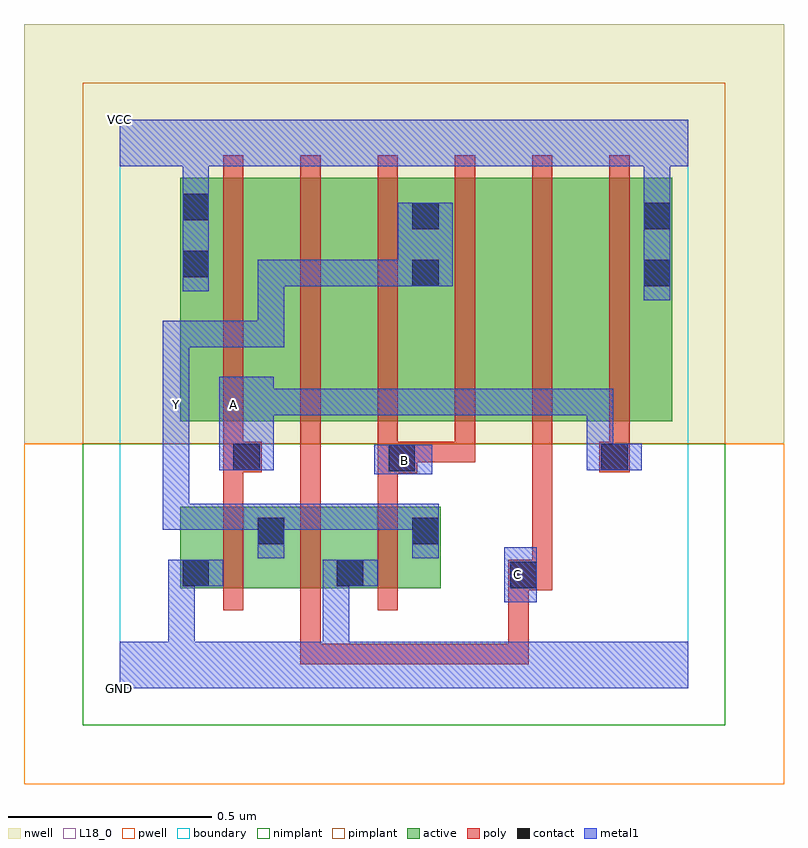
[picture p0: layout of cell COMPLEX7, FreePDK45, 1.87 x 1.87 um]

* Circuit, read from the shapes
.subckt COMPLEX7 A B C GND VCC Y
M1 Y A GND VSUBS nfet w=0.2u l=0.05u
M2 GND C Y VSUBS nfet w=0.2u l=0.05u
M3 Y B GND VSUBS nfet w=0.2u l=0.05u
M4 n1 A VCC n2 pfet w=0.6u l=0.05u
M5 n3 C n1 n2 pfet w=0.6u l=0.05u
M6 Y B n3 n2 pfet w=0.6u l=0.05u
M7 n4 B Y n2 pfet w=0.6u l=0.05u
M8 n5 C n4 n2 pfet w=0.6u l=0.05u
M9 VCC A n5 n2 pfet w=0.6u l=0.05u
.ends

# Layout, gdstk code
import gdstk
lib = gdstk.Library(unit=1e-6, precision=1e-09)
def R(c, l, rs):  # rectangles x0, y0, x1, y1
    for r in rs: c.add(gdstk.rectangle(r[:2], r[2:], *l))
def A(c, l, x, y, w, h, nx, ny, dx, dy):  # array of equal rectangles
    R(c, l, [(x+i*dx, y+j*dy, x+i*dx+w, y+j*dy+h) for i in range(nx) for j in range(ny)])
active = (1, 0)
pwell = (2, 0)
nwell = (3, 0)
nimplant = (4, 0)
pimplant = (5, 0)
poly = (9, 0)
contact = (10, 0)
metal1 = (11, 0)
L18_0 = (18, 0)
boundary = (235, 0)

complex7 = lib.new_cell('COMPLEX7')
R(complex7, active, [(0.15,0.247,0.41,0.447), (0.15,0.247,0.225,0.447), (0.335,0.247,0.605,0.447), (0.53,0.247,0.79,0.447), (0.53,0.247,0.605,0.397), (0.335,0.332,0.41,0.447), (0.715,0.332,0.79,0.447), (0.15,0.657,0.225,1.257), (0.15,0.657,0.375,1.257), (0.375,0.657,0.565,1.257), (0.565,0.657,0.79,1.257), (0.715,0.657,0.945,1.257), (0.945,0.657,1.135,1.257), (1.135,0.657,1.36,1.257), (1.285,0.657,1.36,1.257), (0.715,0.707,0.79,1.2)])
R(complex7, pwell, [(-0.235,-0.235,1.635,0.602)])
R(complex7, nwell, [(-0.235,0.602,1.635,1.635)])
R(complex7, nimplant, [(-0.09,-0.09,1.49,0.602)])
R(complex7, pimplant, [(-0.09,0.602,1.49,1.49)])
A(complex7, poly, 0.255, 0.192, 0.05, 0.31, 3, 1, 0.19, 0)
A(complex7, poly, 0.255, 0.602, 0.05, 0.71, 6, 1, 0.19, 0)
R(complex7, poly, [(0.445,0.06,0.495,0.11), (0.445,0.06,0.495,0.11), (0.445,0.06,0.495,0.11), (0.445,0.06,0.627,0.11), (0.445,0.06,0.495,0.242), (0.577,0.06,0.627,0.11), (0.577,0.06,0.627,0.11), (0.577,0.06,0.627,0.11), (0.577,0.06,0.865,0.11), (0.815,0.06,0.865,0.11), (0.815,0.06,0.865,0.11), (0.815,0.06,0.865,0.11), (0.815,0.06,1.007,0.11), (0.957,0.06,1.007,0.292), (0.957,0.06,1.007,0.11), (0.957,0.06,1.007,0.11), (0.957,0.06,1.007,0.11), (0.957,0.06,1.007,0.11), (0.957,0.06,1.007,0.11), (0.957,0.242,1.065,0.317), (1.015,0.267,1.065,0.652), (0.255,0.452,0.305,0.582), (0.445,0.452,0.495,0.547), (0.635,0.452,0.685,0.58), (0.445,0.497,0.495,0.547), (0.445,0.497,0.495,0.652), (0.635,0.53,0.732,0.607), (0.255,0.532,0.35,0.607), (1.18,0.532,1.255,0.607), (0.255,0.557,0.305,0.652), (0.635,0.557,0.685,0.652), (0.682,0.557,0.732,0.607), (0.682,0.557,0.732,0.607), (0.682,0.557,0.875,0.607), (0.825,0.557,0.875,0.652), (0.825,0.557,0.875,0.607), (1.205,0.557,1.255,0.652)])
R(complex7, contact, [(0.962,0.247,1.027,0.312), (0.155,0.252,0.22,0.317), (0.535,0.252,0.6,0.317), (0.34,0.355,0.405,0.42), (0.72,0.355,0.785,0.42), (0.662,0.535,0.727,0.6), (0.28,0.537,0.345,0.602), (1.185,0.537,1.25,0.602), (0.72,0.99,0.785,1.055), (1.29,0.99,1.355,1.055), (0.155,1.012,0.22,1.077), (0.72,1.13,0.785,1.195), (1.29,1.13,1.355,1.195), (0.155,1.152,0.22,1.217)])
R(complex7, metal1, [(0,0,1.4,0.115), (0.12,0.05,0.185,0.317), (0.5,0.05,0.565,0.317), (0.947,0.212,1.027,0.347), (0.12,0.252,0.185,0.317), (0.12,0.252,0.185,0.317), (0.12,0.252,0.185,0.317), (0.12,0.252,0.185,0.317), (0.12,0.252,0.255,0.317), (0.5,0.252,0.565,0.317), (0.5,0.252,0.565,0.317), (0.5,0.252,0.565,0.317), (0.5,0.252,0.565,0.317), (0.5,0.252,0.635,0.317), (0.34,0.32,0.405,0.455), (0.72,0.32,0.785,0.455), (0.107,0.39,0.172,0.455), (0.107,0.39,0.405,0.455), (0.107,0.39,0.172,0.697), (0.34,0.39,0.405,0.455), (0.34,0.39,0.405,0.455), (0.34,0.39,0.542,0.455), (0.477,0.39,0.542,0.455), (0.477,0.39,0.542,0.455), (0.477,0.39,0.542,0.455), (0.477,0.39,0.737,0.455), (0.672,0.39,0.737,0.455), (0.672,0.39,0.785,0.455), (0.627,0.527,0.77,0.6), (0.245,0.537,0.38,0.767), (1.15,0.537,1.215,0.602), (1.15,0.537,1.215,0.602), (1.15,0.537,1.285,0.602), (1.15,0.537,1.215,0.737), (0.107,0.632,0.172,0.767), (0.315,0.672,0.38,0.737), (0.315,0.672,0.38,0.737), (0.315,0.672,0.555,0.737), (0.49,0.672,0.555,0.737), (0.49,0.672,0.555,0.737), (0.49,0.672,0.555,0.737), (0.49,0.672,0.555,0.737), (0.49,0.672,0.555,0.737), (0.49,0.672,0.692,0.737), (0.627,0.672,0.692,0.737), (0.627,0.672,0.692,0.737), (0.627,0.672,0.692,0.737), (0.627,0.672,0.875,0.737), (0.81,0.672,0.875,0.737), (0.81,0.672,1.077,0.737), (1.012,0.672,1.077,0.737), (1.012,0.672,1.077,0.737), (1.012,0.672,1.077,0.737), (1.012,0.672,1.215,0.737), (1.15,0.672,1.215,0.737), (0.107,0.702,0.172,0.905), (0.107,0.84,0.172,0.905), (0.107,0.84,0.405,0.905), (0.34,0.84,0.405,0.905), (0.34,0.84,0.405,0.905), (0.34,0.84,0.405,0.905), (0.34,0.84,0.405,1.055), (1.29,0.955,1.355,1.23), (0.155,0.977,0.22,1.252), (0.34,0.99,0.405,1.055), (0.34,0.99,0.542,1.055), (0.477,0.99,0.542,1.055), (0.477,0.99,0.542,1.055), (0.477,0.99,0.542,1.055), (0.477,0.99,0.737,1.055), (0.672,0.99,0.737,1.055), (0.672,0.99,0.75,1.055), (0.685,0.99,0.82,1.195), (1.29,1.165,1.355,1.35), (0.155,1.187,0.22,1.35), (0,1.285,1.4,1.4)])
R(complex7, L18_0, [(0,0,1.4,0.115), (0.12,0.05,0.185,0.317), (0.5,0.05,0.565,0.317), (0.947,0.212,1.027,0.347), (0.947,0.247,1.012,0.312), (0.12,0.252,0.185,0.317), (0.12,0.252,0.185,0.317), (0.12,0.252,0.185,0.317), (0.12,0.252,0.185,0.317), (0.12,0.252,0.255,0.317), (0.5,0.252,0.565,0.317), (0.5,0.252,0.565,0.317), (0.5,0.252,0.565,0.317), (0.5,0.252,0.565,0.317), (0.5,0.252,0.635,0.317), (0.34,0.32,0.405,0.455), (0.72,0.32,0.785,0.455), (0.107,0.39,0.172,0.455), (0.107,0.39,0.172,0.697), (0.107,0.39,0.405,0.455), (0.34,0.39,0.405,0.455), (0.34,0.39,0.405,0.455), (0.34,0.39,0.542,0.455), (0.477,0.39,0.542,0.455), (0.477,0.39,0.542,0.455), (0.477,0.39,0.542,0.455), (0.477,0.39,0.737,0.455), (0.672,0.39,0.737,0.455), (0.672,0.39,0.785,0.455), (0.627,0.527,0.77,0.6), (0.667,0.527,0.732,0.592), (0.245,0.537,0.38,0.767), (1.15,0.537,1.215,0.602), (1.15,0.537,1.215,0.602), (1.15,0.537,1.285,0.602), (1.15,0.537,1.215,0.737), (0.107,0.632,0.172,0.767), (0.107,0.667,0.172,0.732), (0.247,0.667,0.312,0.732), (0.315,0.672,0.38,0.737), (0.315,0.672,0.38,0.737), (0.315,0.672,0.555,0.737), (0.49,0.672,0.555,0.737), (0.49,0.672,0.555,0.737), (0.49,0.672,0.555,0.737), (0.49,0.672,0.555,0.737), (0.49,0.672,0.555,0.737), (0.49,0.672,0.692,0.737), (0.627,0.672,0.692,0.737), (0.627,0.672,0.692,0.737), (0.627,0.672,0.692,0.737), (0.627,0.672,0.875,0.737), (0.81,0.672,0.875,0.737), (0.81,0.672,1.077,0.737), (1.012,0.672,1.077,0.737), (1.012,0.672,1.077,0.737), (1.012,0.672,1.077,0.737), (1.012,0.672,1.215,0.737), (1.15,0.672,1.215,0.737), (0.107,0.702,0.172,0.905), (0.107,0.84,0.172,0.905), (0.107,0.84,0.405,0.905), (0.34,0.84,0.405,0.905), (0.34,0.84,0.405,0.905), (0.34,0.84,0.405,0.905), (0.34,0.84,0.405,1.055), (1.29,0.955,1.355,1.23), (0.155,0.977,0.22,1.252), (0.34,0.99,0.405,1.055), (0.34,0.99,0.542,1.055), (0.477,0.99,0.542,1.055), (0.477,0.99,0.542,1.055), (0.477,0.99,0.542,1.055), (0.477,0.99,0.737,1.055), (0.672,0.99,0.737,1.055), (0.672,0.99,0.75,1.055), (0.685,0.99,0.82,1.195), (1.29,1.165,1.355,1.35), (0.155,1.187,0.22,1.35), (0,1.285,1.4,1.4)])
R(complex7, boundary, [(0,0,1.4,1.4)])
complex7.add(gdstk.Label('A', (0.28,0.7), layer=11, texttype=0))
complex7.add(gdstk.Label('B', (0.7,0.56), layer=11, texttype=0))
complex7.add(gdstk.Label('C', (0.98,0.28), layer=11, texttype=0))
complex7.add(gdstk.Label('Y', (0.14,0.7), layer=11, texttype=0))
complex7.add(gdstk.Label('VCC', (0,1.4), layer=11, texttype=0))
complex7.add(gdstk.Label('GND', (0,0), layer=11, texttype=0))

lib.write_gds('COMPLEX7.gds')
